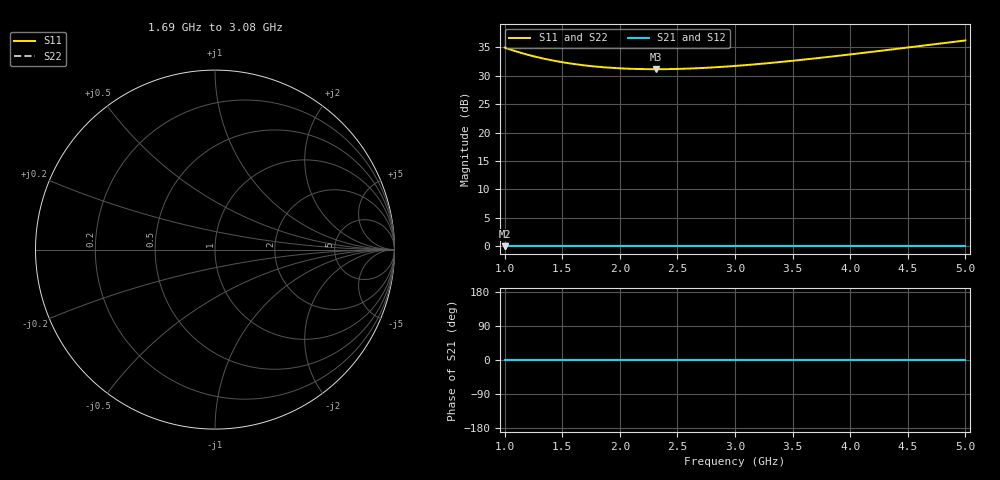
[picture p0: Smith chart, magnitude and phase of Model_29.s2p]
# GHZ S RI R 50
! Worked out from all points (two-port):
!   401 points, 1 GHz to 5 GHz, reference 50 ohm
!   highest |S21| = 0.00 dB at 1 GHz (marker M1); lowest = 0.0 dB at 1 GHz (marker M2)
!   |S21| within 3 dB of the highest: start of sweep to end of sweep
!   lowest |S11| = 31.2 dB at 2.31 GHz (marker M3)
!   |S11| at or under -10 dB: nowhere
!   |S22| runs from 31.2 to 36.2 dB; largest |S21 - S12| = 0
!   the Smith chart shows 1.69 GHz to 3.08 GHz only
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1  56 0  1 0  1 0  56 0
1.15  50.04 0  1 0  1 0  50.04 0
1.22  47.85 0  1 0  1 0  47.85 0
1.3  45.7 0  1 0  1 0  45.7 0
1.38  43.88 0  1 0  1 0  43.88 0
1.47  42.15 0  1 0  1 0  42.15 0
1.57  40.58 0  1 0  1 0  40.58 0
1.67  39.31 0  1 0  1 0  39.31 0
1.82  37.88 0  1 0  1 0  37.88 0
1.97  36.92 0  1 0  1 0  36.92 0
2.14  36.31 0  1 0  1 0  36.31 0
2.31  36.12 0  1 0  1 0  36.12 0
2.34  36.13 0  1 0  1 0  36.13 0
2.5  36.33 0  1 0  1 0  36.33 0
2.66  36.8 0  1 0  1 0  36.8 0
3  38.6 0  1 0  1 0  38.6 0
3.33  41.21 0  1 0  1 0  41.21 0
3.67  44.69 0  1 0  1 0  44.69 0
4  48.75 0  1 0  1 0  48.75 0
4.34  53.59 0  1 0  1 0  53.59 0
4.63  58.2 0  1 0  1 0  58.2 0
5  64.71 0  1 0  1 0  64.71 0
